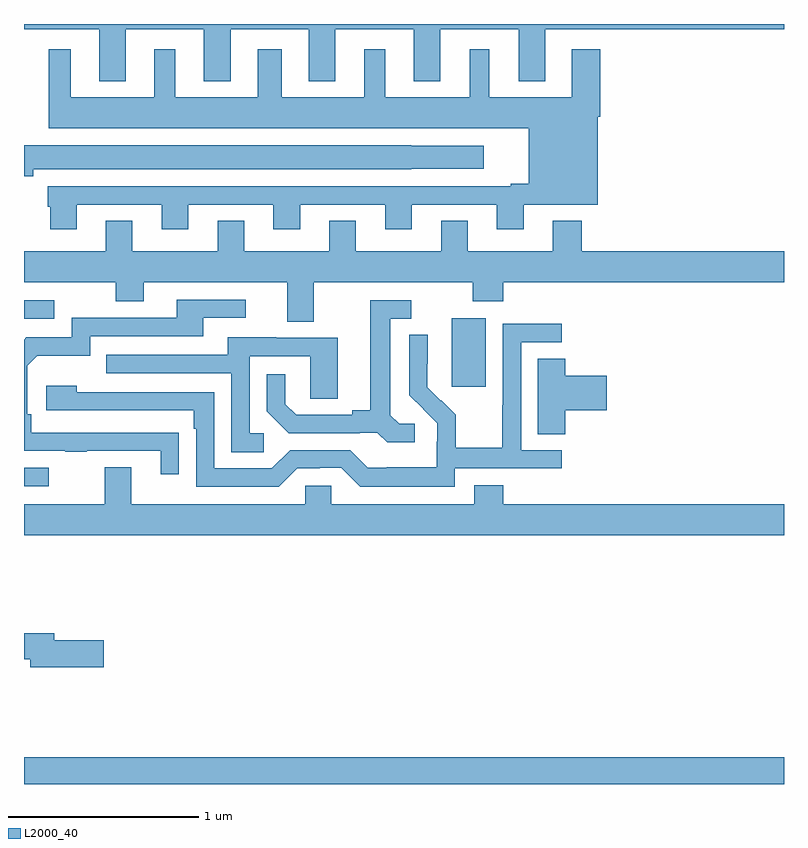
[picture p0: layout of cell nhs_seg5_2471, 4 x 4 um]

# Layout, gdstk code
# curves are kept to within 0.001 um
import gdstk
lib = gdstk.Library(unit=1e-6, precision=1e-09)
def R(c, l, rs):  # rectangles x0, y0, x1, y1
    for r in rs: c.add(gdstk.rectangle(r[:2], r[2:], *l))
def P(c, l, *ps):  # polygons
    for p in ps: c.add(gdstk.Polygon(p, *l))
L2000_40 = (2000, 40)

nhs_seg5_2471 = lib.new_cell('nhs_seg5_2471')
R(nhs_seg5_2471, L2000_40, [(255,840.799,259,840.94), (255,842.367,255.13,842.463), (257.252,842.889,257.431,843.25), (255,843.249,255.16,843.345)])
P(nhs_seg5_2471, L2000_40, [(255.535,844.772),(255.947,844.772),(255.947,844.499),(256.087,844.499),(256.087,844.772),(256.499,844.772),(256.499,844.499),(256.639,844.499),(256.639,844.772),(257.051,844.772),(257.051,844.499),(257.191,844.499),(257.191,844.772),(257.603,844.772),(257.603,844.499),(257.743,844.499),(257.743,844.772),(259,844.772),(259,844.799),(255,844.799),(255,844.772),(255.395,844.772),(255.395,844.499),(255.535,844.499)],
  [(255.277,843.849),(255.725,843.849),(255.725,843.72),(255.865,843.72),(255.865,843.849),(256.313,843.849),(256.313,843.72),(256.453,843.72),(256.453,843.849),(256.901,843.849),(256.901,843.72),(257.041,843.72),(257.041,843.849),(257.489,843.849),(257.489,843.72),(257.629,843.72),(257.629,843.848),(258.019,843.848),(258.019,844.31),(258.032,844.31),(258.032,844.666),(257.882,844.666),(257.882,844.414),(257.449,844.414),(257.449,844.666),(257.345,844.666),(257.345,844.414),(256.9,844.414),(256.9,844.666),(256.79,844.666),(256.79,844.414),(256.357,844.414),(256.357,844.666),(256.229,844.666),(256.229,844.414),(255.796,844.414),(255.796,844.666),(255.686,844.666),(255.686,844.414),(255.247,844.414),(255.247,844.666),(255.131,844.666),(255.131,844.25),(257.657,844.25),(257.657,843.958),(257.561,843.958),(257.561,843.945),(255.125,843.945),(255.125,843.837),(255.137,843.837),(255.137,843.72),(255.277,843.72)],
  [(255.049,844.034),(257.037,844.034),(257.037,844.037),(257.419,844.037),(257.419,844.159),(257.037,844.159),(257.037,844.162),(255,844.162),(255,843.998),(255.049,843.998)],
  [(255.431,843.604),(255,843.604),(255,843.44),(255.484,843.44),(255.484,843.341),(255.631,843.341),(255.631,843.44),(256.385,843.44),(256.385,843.232),(256.525,843.232),(256.525,843.44),(257.362,843.44),(257.362,843.341),(257.522,843.341),(257.522,843.44),(259,843.44),(259,843.604),(257.936,843.604),(257.936,843.763),(257.783,843.763),(257.783,843.604),(257.335,843.604),(257.335,843.764),(257.195,843.764),(257.195,843.604),(256.747,843.604),(256.747,843.764),(256.607,843.764),(256.607,843.604),(256.159,843.604),(256.159,843.764),(256.019,843.764),(256.019,843.604),(255.571,843.604),(255.571,843.764),(255.431,843.764)],
  [(255.815,842.648),(255.038,842.649),(255.038,842.746),(255.018,842.746),(255.018,843),(255.071,843.053),(255.348,843.053),(255.348,843.156),(255.943,843.156),(255.943,843.252),(256.168,843.252),(256.168,843.348),(255.803,843.348),(255.803,843.252),(255.252,843.252),(255.252,843.15),(255.012,843.15),(255,843.138),(255,842.553),(255.217,842.553),(255.217,842.548),(255.329,842.548),(255.329,842.553),(255.719,842.553),(255.719,842.43),(255.815,842.43)],
  [(257.056,842.694),(256.974,842.694),(256.927,842.741),(256.927,843.249),(257.038,843.249),(257.038,843.345),(256.823,843.345),(256.823,842.765),(256.727,842.765),(256.727,842.742),(256.432,842.742),(256.375,842.799),(256.375,842.956),(256.278,842.956),(256.278,842.762),(256.394,842.646),(256.766,842.646),(256.766,842.649),(256.86,842.649),(256.912,842.597),(257.056,842.597)],
  [(257.268,842.46),(257.83,842.46),(257.83,842.556),(257.616,842.556),(257.616,843.123),(257.83,843.123),(257.83,843.222),(257.52,843.222),(257.52,842.792),(257.517,842.792),(257.517,842.569),(257.273,842.569),(257.273,842.743),(257.196,842.82),(257.193,842.817),(257.123,842.888),(257.124,843.164),(257.028,843.164),(257.028,842.846),(257.174,842.698),(257.174,842.601),(257.172,842.601),(257.172,842.467),(256.909,842.467),(256.909,842.463),(256.809,842.463),(256.716,842.556),(256.401,842.556),(256.305,842.46),(256.002,842.46),(256.002,842.862),(255.278,842.862),(255.278,842.896),(255.117,842.896),(255.117,842.766),(255.893,842.766),(255.893,842.669),(255.906,842.669),(255.906,842.364),(256.341,842.364),(256.437,842.46),(256.556,842.46),(256.556,842.463),(256.671,842.463),(256.771,842.363),(257.268,842.363)],
  [(256.261,842.646),(256.188,842.646),(256.188,843.051),(256.506,843.051),(256.506,842.827),(256.651,842.827),(256.651,843.147),(256.327,843.147),(256.327,843.151),(256.073,843.151),(256.073,843.057),(255.433,843.057),(255.433,842.961),(256.092,842.961),(256.092,842.545),(256.261,842.545)],
  [(257.849,842.765),(258.067,842.765),(258.067,842.948),(257.849,842.948),(257.849,843.038),(257.705,843.038),(257.705,842.641),(257.849,842.641)],
  [(259,842.272),(257.522,842.272),(257.522,842.371),(257.369,842.371),(257.369,842.272),(256.617,842.272),(256.617,842.37),(256.479,842.37),(256.479,842.272),(255.565,842.272),(255.565,842.467),(255.425,842.467),(255.425,842.272),(255,842.272),(255,842.108),(259,842.108)],
  [(255.421,841.556),(255.16,841.556),(255.16,841.592),(255,841.592),(255,841.456),(255.032,841.456),(255.032,841.414),(255.421,841.414)])

lib.write_gds('nhs_seg5_2471.gds')
